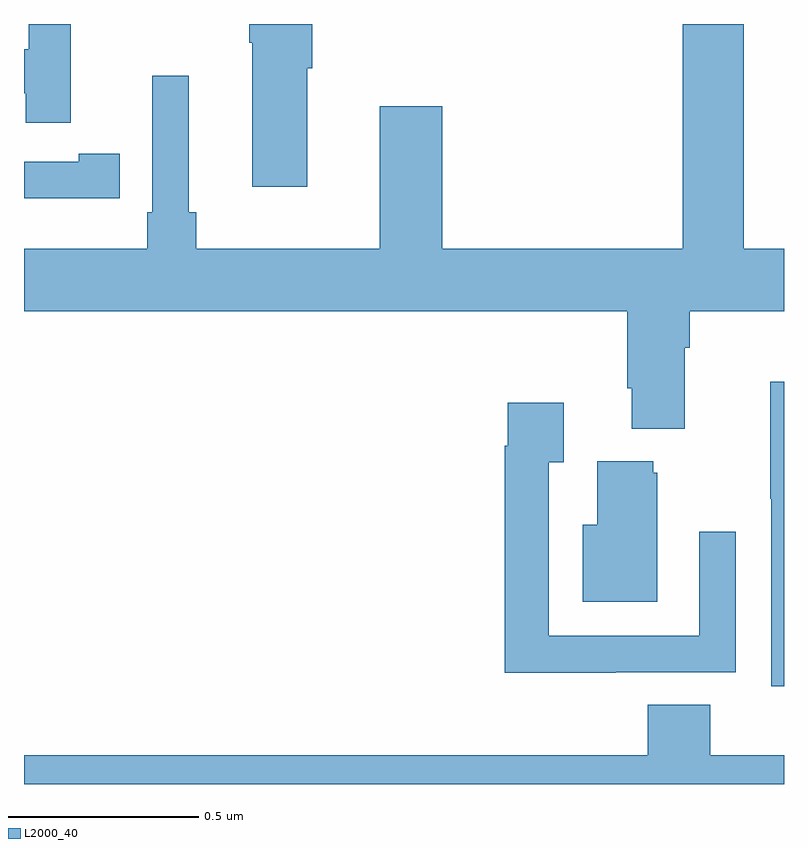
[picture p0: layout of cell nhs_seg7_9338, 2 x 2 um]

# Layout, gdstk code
import gdstk
lib = gdstk.Library(unit=1e-6, precision=1e-09)
def P(c, l, *ps):  # polygons
    for p in ps: c.add(gdstk.Polygon(p, *l))
L2000_40 = (2000, 40)

nhs_seg7_9338 = lib.new_cell('nhs_seg7_9338')
P(nhs_seg7_9338, L2000_40, [(237.739,1039.148),(237.752,1039.148),(237.752,1039.244),(238,1039.244),(238,1039.408),(237.894,1039.408),(237.894,1040),(237.734,1040),(237.734,1039.408),(237.1,1039.408),(237.1,1039.783),(236.936,1039.783),(236.936,1039.408),(236.453,1039.408),(236.453,1039.504),(236.434,1039.504),(236.434,1039.864),(236.337,1039.864),(236.337,1039.504),(236.324,1039.504),(236.324,1039.408),(236,1039.408),(236,1039.244),(237.587,1039.244),(237.587,1039.042),(237.599,1039.042),(237.599,1038.935),(237.739,1038.935)],
  [(236.746,1039.884),(236.759,1039.884),(236.759,1040),(236.593,1040),(236.593,1039.951),(236.6,1039.951),(236.6,1039.572),(236.746,1039.572)],
  [(236.123,1040),(236.013,1040),(236.013,1039.934),(236,1039.934),(236,1039.818),(236.005,1039.818),(236.005,1039.74),(236.123,1039.74)],
  [(236.144,1039.542),(236.252,1039.542),(236.252,1039.658),(236.144,1039.658),(236.144,1039.638),(236,1039.638),(236,1039.541),(236.144,1039.541)],
  [(238,1039.058),(237.964,1039.058),(237.964,1038.751),(237.966,1038.751),(237.966,1038.257),(238,1038.257)],
  [(237.557,1038.294),(237.873,1038.294),(237.873,1038.664),(237.777,1038.664),(237.777,1038.39),(237.381,1038.39),(237.381,1038.847),(237.421,1038.847),(237.421,1039.003),(237.273,1039.003),(237.273,1038.89),(237.265,1038.89),(237.265,1038.293),(237.557,1038.293)],
  [(237.667,1038.819),(237.656,1038.819),(237.656,1038.85),(237.509,1038.85),(237.509,1038.682),(237.47,1038.682),(237.47,1038.479),(237.667,1038.479)],
  [(238,1038.076),(237.806,1038.076),(237.806,1038.209),(237.641,1038.209),(237.641,1038.076),(236,1038.076),(236,1038),(238,1038)])

lib.write_gds('nhs_seg7_9338.gds')
